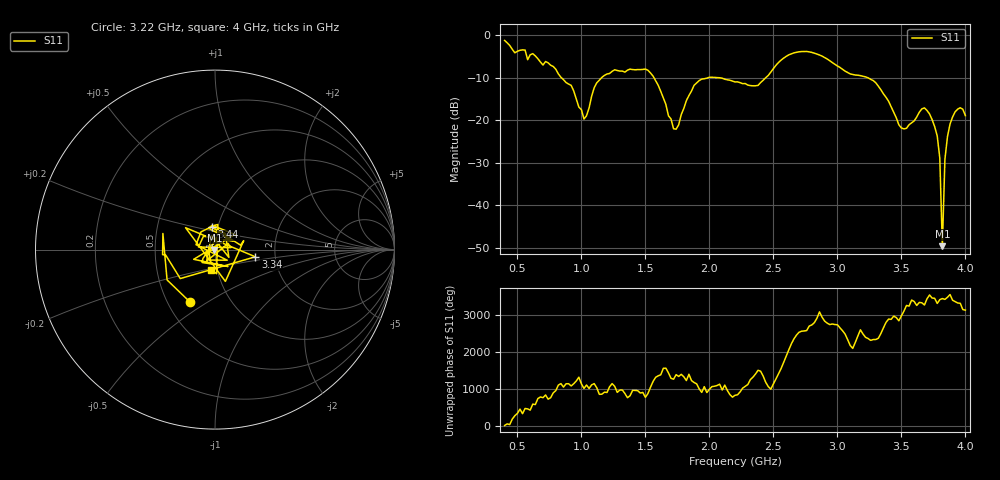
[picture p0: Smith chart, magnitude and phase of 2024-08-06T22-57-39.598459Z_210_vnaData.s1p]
!Created with skrf (http://scikit-rf.org).
# Hz S RI R 50.0
!freq ReS11 ImS11
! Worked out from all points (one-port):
!   181 points, 400 MHz to 4 GHz, reference 50 ohm
!   lowest |S11| = -49.7 dB at 3.82 GHz (marker M1), VSWR 1.01, Z = 49.7 - j0.167 ohm
!   |S11| at or under -10 dB: 1.567 GHz to 1.988 GHz (420.3 MHz wide, 23.6 % of centre); 2.083 GHz to 2.439 GHz (356.1 MHz wide, 15.7 % of centre); 3.24 GHz to end of sweep (the widest 3 of 4)
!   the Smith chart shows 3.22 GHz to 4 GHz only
!   S11 on the Smith chart (normalised r, x): 3.22 GHz: 0.65, -0.43; 3.34 GHz: 1.57, -0.13; 3.44 GHz: 0.94, +0.24; 4 GHz: 0.93, -0.21
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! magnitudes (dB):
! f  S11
! 400 MHz  -1.2
! 860 MHz  -10.4
! 920 MHz  -11.8
! 1.02 GHz  -19.7
! 1.12 GHz  -11.2
! 1.3 GHz  -8.4
! 1.52 GHz  -8.2
! 1.6 GHz  -11.8
! 1.72 GHz  -22.0
! 1.76 GHz  -21.1
! 1.92 GHz  -10.7
! 2.2 GHz  -11.0
! 2.38 GHz  -11.8
! 2.66 GHz  -4.1
! 3.1 GHz  -9.1
! 3.22 GHz  -9.8
! 3.34 GHz  -12.8
! 3.44 GHz  -18.1
! 3.5 GHz  -21.8
! 3.56 GHz  -21.1
! 3.68 GHz  -17.1
! 3.76 GHz  -21.5
! 3.8 GHz  -28.9
! 3.82 GHz  -49.7
! 3.84 GHz  -29.2
! 3.86 GHz  -23.8
! 3.92 GHz  -18.0
! 4 GHz  -18.9
